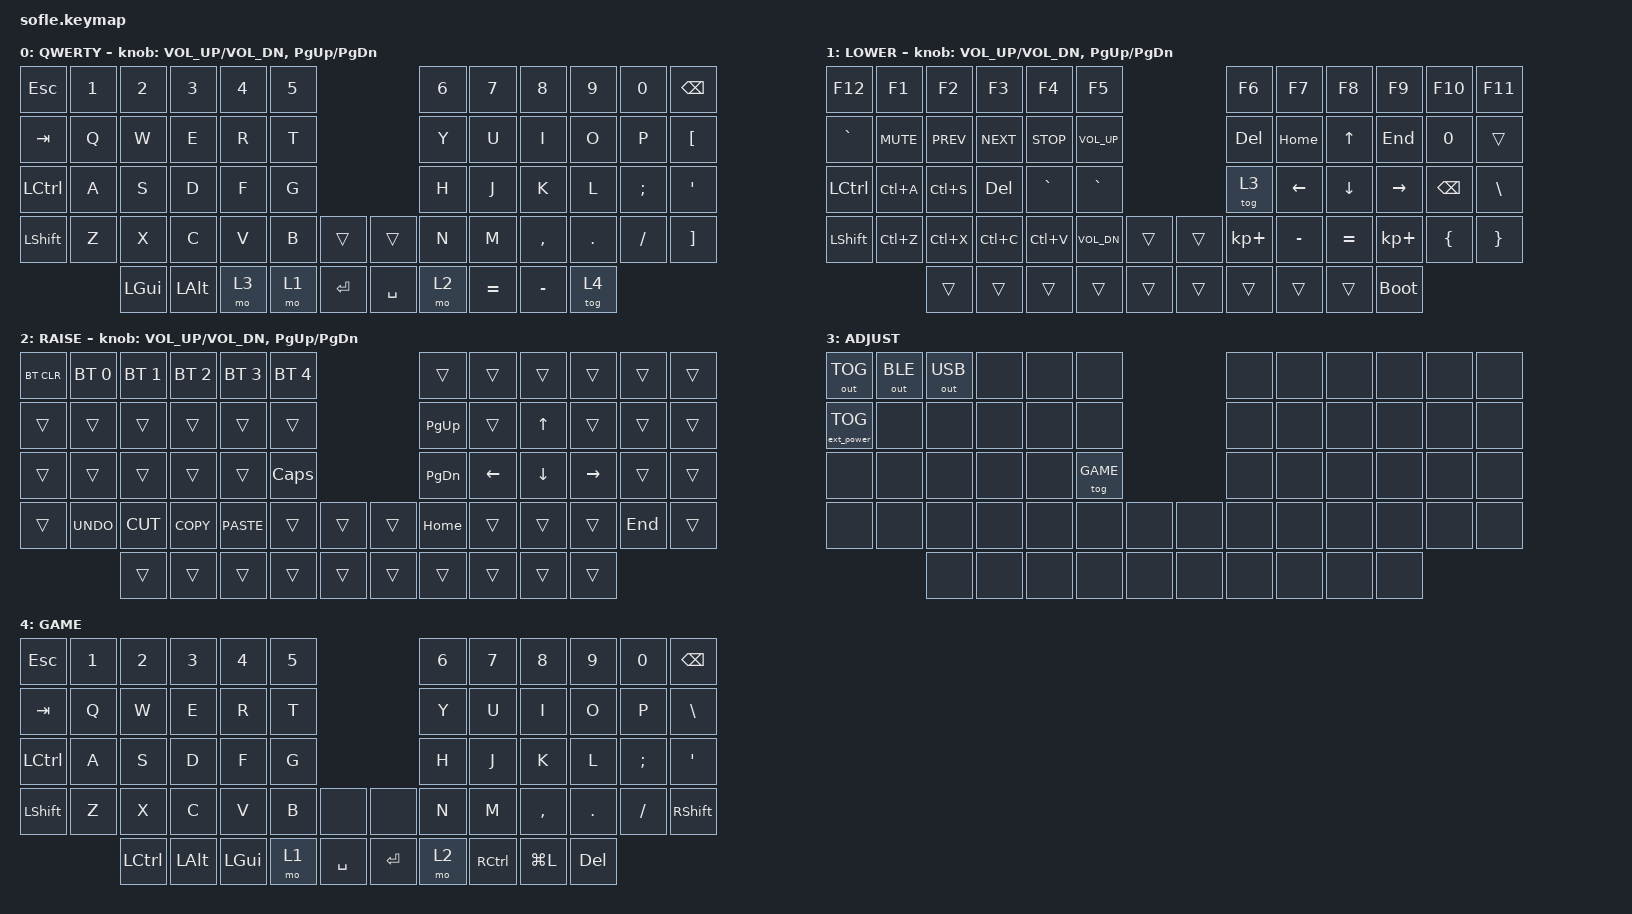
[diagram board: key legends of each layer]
/*
 * Copyright (c) 2020 The ZMK Contributors
 *
 * SPDX-License-Identifier: MIT
 */

#include <behaviors.dtsi>
#include <dt-bindings/zmk/keys.h>
#include <dt-bindings/zmk/bt.h>
#include <dt-bindings/zmk/outputs.h>
#include <dt-bindings/zmk/ext_power.h>

#define BASE 0
#define LOWER 1
#define RAISE 2
#define ADJUST 3
#define GAME 4

/ {

   // Activate ADJUST layer by pressing raise and lower
    conditional_layers {
        compatible = "zmk,conditional-layers";
        adjust_layer {
            if-layers = <LOWER RAISE>;
            then-layer = <ADJUST>;
        };
    };

    keymap {
        compatible = "zmk,keymap";
        default_layer {
            label = "QWERTY";            
            bindings = <
&kp ESC     &kp N1  &kp N2  &kp N3    &kp N4    &kp N5                        &kp N6    &kp N7     &kp N8     &kp N9   &kp N0   &kp BSPC
&kp TAB     &kp Q   &kp W   &kp E     &kp R     &kp T                         &kp Y     &kp U      &kp I      &kp O    &kp P    &kp LBKT
&kp LCTRL   &kp A   &kp S   &kp D     &kp F     &kp G                         &kp H     &kp J      &kp K      &kp L    &kp SEMI &kp SQT
&kp LSHFT   &kp Z   &kp X   &kp C     &kp V     &kp B    &trans   &trans      &kp N     &kp M      &kp COMMA  &kp DOT  &kp FSLH &kp RBKT
                 &kp LGUI &kp LALT    &mo 3     &mo 1    &kp RET  &kp SPACE   &mo 2     &kp EQUAL  &kp MINUS  &tog 4
            >;

            sensor-bindings = <&inc_dec_kp C_VOL_UP C_VOL_DN &inc_dec_kp PG_UP PG_DN>;
        };
        
        lower_layer {
            label = "LOWER";
            bindings = <
&kp F12     &kp F1      &kp F2        &kp F3         &kp F4         &kp F5                                &kp F6          &kp F7      &kp F8      &kp F9       &kp F10   &kp F11
&kp GRAVE   &kp K_MUTE  &kp C_PREV    &kp C_NEXT     &kp C_STOP     &kp C_VOL_UP                          &kp DEL         &kp HOME    &kp UP      &kp END      &kp N0    &trans
&kp LCTRL   &kp LC(A)   &kp LC(S)     &kp DEL        &kp GRAVE      &kp GRAVE                             &tog 3          &kp LEFT    &kp DOWN    &kp RIGHT    &kp BSPC  &kp BSLH
&kp LSHFT   &kp LC(Z)   &kp LC(X)     &kp LC(C)      &kp LC(V)      &kp C_VOL_DN      &trans  &trans      &kp KP_PLUS     &kp MINUS   &kp EQUAL   &kp KP_PLUS  &kp LBRC  &kp RBRC
                        &trans        &trans         &trans         &trans               &trans  &trans   &trans          &trans      &trans      &bootloader
            >;

            sensor-bindings = <&inc_dec_kp C_VOL_UP C_VOL_DN &inc_dec_kp PG_UP PG_DN>;
        };

        raise_layer {
            label = "RAISE"; 
            bindings = <
&bt BT_CLR  &bt BT_SEL 0  &bt BT_SEL 1  &bt BT_SEL 2  &bt BT_SEL 3  &bt BT_SEL 4                       &trans     &trans    &trans    &trans     &trans  &trans
&trans      &trans        &trans        &trans        &trans        &trans                             &kp PG_UP  &trans    &kp UP    &trans     &trans  &trans
&trans      &trans        &trans        &trans        &trans        &kp CLCK                           &kp PG_DN  &kp LEFT  &kp DOWN  &kp RIGHT  &trans  &trans
&trans      &kp K_UNDO    &kp K_CUT     &kp K_COPY    &kp K_PASTE   &trans         &trans   &trans     &kp HOME   &trans    &trans    &trans     &kp END &trans
                          &trans        &trans        &trans        &trans         &trans   &trans     &trans     &trans    &trans    &trans
            >;

            sensor-bindings = <&inc_dec_kp C_VOL_UP C_VOL_DN &inc_dec_kp PG_UP PG_DN>;
        };

        Adjust_layer {
            label = "ADJUST";
// ------------------------------------------------------------------------------------------------------------
// |USB/BLE|TOGBLE|TOGUSB|      |       |      |                |      |      |       |      |       |       |
// |EXTPWR |      |      |      |       |      |                |      |      |       |      |       |       |
// |       |      |      |      |       | GAME |                |      |      |       |      |       |       |
// |       |      |      |      |       |      |      |  |      |      |      |       |      |       |       |
//                |      |      |       |      |      |  |      |      |      |       |      |
        bindings = <
&out OUT_TOG       &out OUT_BLE  &out OUT_USB  &none  &none  &none                       &none  &none  &none  &none  &none  &none
&ext_power EP_TOG  &none         &none         &none  &none  &none                       &none  &none  &none  &none  &none  &none
&none              &none         &none         &none  &none  &tog GAME                   &none  &none  &none  &none  &none  &none
&none              &none         &none         &none  &none  &none       &none  &none    &none  &none  &none  &none  &none  &none
                                 &none         &none  &none  &none       &none  &none    &none  &none  &none  &none
            >;
        };
        
        Game_layer {
            label = "GAME";
// ------------------------------------------------------------------------------------------------------------
// |  ESC  |  1  |  2  |  3   |  4   |  5   |                   |  6   |   7   |   8   |  9   |   0   |  BSPC |
// |  TAB  |  Q  |  W  |  E   |  R   |  T   |                   |  Y   |   U   |   I   |  O   |   P   |   \   |
// | CTRL  |  A  |  S  |  D   |  F   |  G   |                   |  H   |   J   |   K   |  L   |   ;   |   '   |
// | SHIFT |  Z  |  X  |  C   |  V   |  B   |        |  |       |  N   |   M   |   ,   |  .   |   /   | SHIFT |
//               |CTRL | ALT  | LGUI | LOWER|  SPACE |  | ENTER | RAISE| CTRL  | LOCK  | DEL  |
            bindings = <
&kp ESC    &kp N1  &kp N2     &kp N3    &kp N4    &kp N5                          &kp N6  &kp N7     &kp N8     &kp N9   &kp N0    &kp BSPC
&kp TAB    &kp Q   &kp W      &kp E     &kp R     &kp T                           &kp Y   &kp U      &kp I      &kp O    &kp P     &kp BSLH
&kp LCTRL  &kp A   &kp S      &kp D     &kp F     &kp G                           &kp H   &kp J      &kp K      &kp L    &kp SEMI  &kp SQT
&kp LSHFT  &kp Z   &kp X      &kp C     &kp V     &kp B   &none       &none       &kp N   &kp M      &kp COMMA  &kp DOT  &kp FSLH  &kp RSHFT
                   &kp LCTRL  &kp LALT  &kp LGUI  &mo 1   &kp SPACE     &kp RET   &mo 2   &kp RCTRL  &kp LG(L)  &kp DEL
            >;
        };    
    };
};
